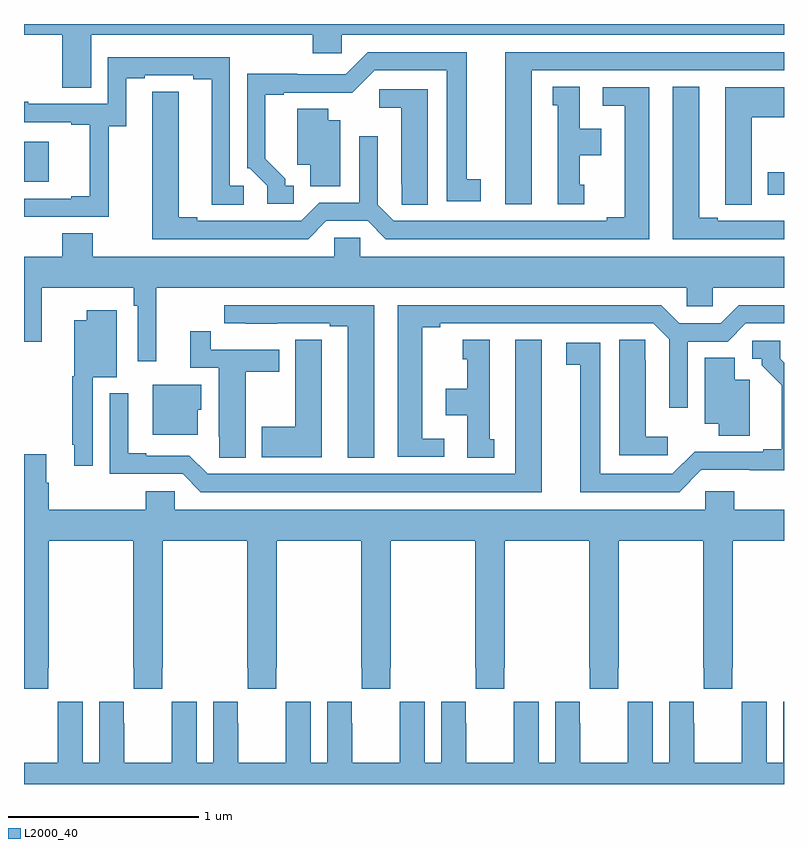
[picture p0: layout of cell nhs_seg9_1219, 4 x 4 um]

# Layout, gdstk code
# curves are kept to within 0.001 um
import gdstk
lib = gdstk.Library(unit=1e-6, precision=1e-09)
def R(c, l, rs):  # rectangles x0, y0, x1, y1
    for r in rs: c.add(gdstk.rectangle(r[:2], r[2:], *l))
def P(c, l, *ps):  # polygons
    for p in ps: c.add(gdstk.Polygon(p, *l))
L2000_40 = (2000, 40)

nhs_seg9_1219 = lib.new_cell('nhs_seg9_1219')
R(nhs_seg9_1219, L2000_40, [(182.915,1171.602,183,1171.719), (179,1171.67,179.131,1171.879)])
P(nhs_seg9_1219, L2000_40, [(179.353,1172.444),(180.521,1172.444),(180.521,1172.346),(180.672,1172.346),(180.672,1172.444),(183,1172.444),(183,1172.5),(179,1172.5),(179,1172.444),(179.201,1172.444),(179.201,1172.164),(179.353,1172.164)],
  [(181.672,1172.256),(183,1172.256),(183,1172.352),(181.532,1172.352),(181.532,1171.551),(181.672,1171.551)],
  [(180.421,1171.65),(180.376,1171.65),(180.376,1171.685),(180.271,1171.79),(180.271,1172.127),(180.367,1172.127),(180.367,1172.139),(180.728,1172.138),(180.846,1172.256),(181.226,1172.256),(181.226,1171.566),(181.405,1171.566),(181.405,1171.682),(181.33,1171.682),(181.33,1172.352),(180.81,1172.352),(180.693,1172.235),(180.437,1172.235),(180.437,1172.237),(180.174,1172.237),(180.174,1171.74),(180.189,1171.74),(180.279,1171.65),(180.279,1171.554),(180.421,1171.554)],
  [(179.445,1171.963),(179.539,1171.963),(179.539,1172.214),(179.635,1172.214),(179.635,1172.229),(179.891,1172.229),(179.891,1172.209),(179.987,1172.209),(179.987,1171.549),(180.157,1171.549),(180.157,1171.65),(180.084,1171.65),(180.084,1172.325),(179.442,1172.325),(179.442,1172.079),(179.023,1172.079),(179.023,1172.092),(179,1172.092),(179,1171.983),(179.249,1171.983),(179.249,1171.971),(179.345,1171.971),(179.345,1171.594),(179.249,1171.594),(179.249,1171.581),(179,1171.581),(179,1171.485),(179.445,1171.485)],
  [(183,1171.465),(182.926,1171.465),(182.926,1171.464),(182.65,1171.464),(182.65,1171.479),(182.554,1171.479),(182.554,1172.171),(182.414,1172.171),(182.414,1171.368),(183,1171.368)],
  [(181.948,1171.653),(181.924,1171.653),(181.924,1171.808),(182.038,1171.808),(182.038,1171.948),(181.924,1171.948),(181.924,1172.171),(181.784,1172.171),(181.784,1172.073),(181.808,1172.073),(181.808,1171.551),(181.948,1171.551)],
  [(182.83,1172.008),(183,1172.008),(183,1172.167),(182.69,1172.167),(182.69,1171.657),(182.691,1171.657),(182.691,1171.549),(182.83,1171.549)],
  [(180.591,1171.464),(180.809,1171.464),(180.905,1171.368),(182.29,1171.368),(182.29,1172.166),(182.046,1172.166),(182.046,1172.07),(182.162,1172.07),(182.162,1171.484),(182.066,1171.484),(182.066,1171.464),(180.945,1171.464),(180.861,1171.548),(180.861,1171.909),(180.765,1171.909),(180.765,1171.56),(180.555,1171.56),(180.459,1171.464),(179.911,1171.464),(179.911,1171.484),(179.815,1171.484),(179.815,1172.144),(179.676,1172.144),(179.675,1171.368),(180.495,1171.368)],
  [(181.126,1172.157),(180.87,1172.157),(180.87,1172.06),(180.986,1172.06),(180.986,1171.657),(180.987,1171.657),(180.987,1171.549),(181.126,1171.549)],
  [(180.664,1171.993),(180.601,1171.993),(180.601,1172.054),(180.437,1172.054),(180.437,1171.76),(180.506,1171.76),(180.506,1171.645),(180.664,1171.645)],
  [(179.696,1171.112),(182.487,1171.112),(182.487,1171.014),(182.625,1171.014),(182.625,1171.112),(183,1171.112),(183,1171.276),(180.771,1171.276),(180.771,1171.374),(180.633,1171.374),(180.633,1171.276),(179.361,1171.276),(179.361,1171.4),(179.201,1171.4),(179.201,1171.276),(179,1171.276),(179,1170.828),(179.094,1170.828),(179.094,1171.112),(179.578,1171.112),(179.578,1171.016),(179.598,1171.016),(179.598,1170.726),(179.696,1170.726)],
  [(180.844,1171.02),(180.054,1171.02),(180.054,1170.924),(180.166,1170.924),(180.166,1170.923),(180.332,1170.923),(180.332,1170.924),(180.608,1170.924),(180.608,1170.909),(180.704,1170.909),(180.704,1170.217),(180.844,1170.217)],
  [(181.213,1170.318),(181.096,1170.318),(181.096,1170.904),(181.192,1170.904),(181.192,1170.924),(182.313,1170.924),(182.397,1170.84),(182.397,1170.48),(182.493,1170.48),(182.493,1170.828),(182.703,1170.828),(182.799,1170.924),(183,1170.924),(183,1171.02),(182.763,1171.02),(182.667,1170.924),(182.449,1170.924),(182.353,1171.02),(180.968,1171.02),(180.968,1170.222),(181.213,1170.222)],
  [(179.361,1170.641),(179.488,1170.641),(179.488,1170.994),(179.33,1170.994),(179.33,1170.94),(179.264,1170.94),(179.264,1170.645),(179.253,1170.645),(179.253,1170.286),(179.264,1170.286),(179.264,1170.174),(179.361,1170.174)],
  [(180.166,1170.67),(180.343,1170.67),(180.343,1170.786),(179.984,1170.786),(179.984,1170.883),(179.876,1170.883),(179.876,1170.69),(180.026,1170.69),(180.026,1170.328),(180.027,1170.328),(180.027,1170.217),(180.166,1170.217)],
  [(180.568,1170.731),(180.567,1170.731),(180.567,1170.839),(180.428,1170.839),(180.428,1170.381),(180.251,1170.381),(180.251,1170.221),(180.568,1170.221)],
  [(182.389,1170.328),(182.272,1170.328),(182.272,1170.731),(182.271,1170.731),(182.271,1170.839),(182.132,1170.839),(182.132,1170.231),(182.389,1170.231)],
  [(181.726,1170.838),(181.586,1170.838),(181.586,1170.132),(179.967,1170.132),(179.871,1170.228),(179.644,1170.228),(179.644,1170.241),(179.548,1170.241),(179.548,1170.556),(179.451,1170.556),(179.451,1170.132),(179.835,1170.132),(179.931,1170.036),(181.726,1170.036)],
  [(181.474,1170.315),(181.45,1170.315),(181.45,1170.838),(181.31,1170.838),(181.31,1170.735),(181.334,1170.735),(181.334,1170.58),(181.22,1170.58),(181.22,1170.44),(181.334,1170.44),(181.334,1170.217),(181.474,1170.217)],
  [(182.565,1170.153),(183,1170.152),(183,1170.717),(182.979,1170.738),(182.979,1170.834),(182.832,1170.834),(182.832,1170.738),(182.882,1170.738),(182.882,1170.703),(182.987,1170.598),(182.987,1170.262),(182.891,1170.262),(182.891,1170.249),(182.53,1170.25),(182.412,1170.132),(182.032,1170.132),(182.032,1170.822),(181.854,1170.822),(181.854,1170.706),(181.928,1170.706),(181.928,1170.036),(182.448,1170.036)],
  [(182.821,1170.628),(182.74,1170.628),(182.74,1170.743),(182.582,1170.743),(182.582,1170.395),(182.657,1170.395),(182.657,1170.334),(182.821,1170.334)],
  [(179.914,1170.471),(179.932,1170.471),(179.932,1170.601),(179.678,1170.601),(179.678,1170.338),(179.914,1170.338)],
  [(179.127,1169.113),(179.13,1169.113),(179.13,1169.78),(179.575,1169.78),(179.575,1169.113),(179.577,1169.113),(179.577,1169.001),(179.727,1169.001),(179.727,1169.113),(179.73,1169.113),(179.73,1169.78),(180.175,1169.78),(180.175,1169.113),(180.177,1169.113),(180.177,1169.001),(180.327,1169.001),(180.327,1169.113),(180.33,1169.113),(180.33,1169.78),(180.775,1169.78),(180.775,1169.113),(180.777,1169.113),(180.777,1169.001),(180.927,1169.001),(180.927,1169.113),(180.93,1169.113),(180.93,1169.78),(181.375,1169.78),(181.375,1169.113),(181.377,1169.113),(181.377,1169.001),(181.527,1169.001),(181.527,1169.113),(181.53,1169.113),(181.53,1169.78),(181.975,1169.78),(181.975,1169.113),(181.977,1169.113),(181.977,1169.001),(182.127,1169.001),(182.127,1169.113),(182.13,1169.113),(182.13,1169.78),(182.575,1169.78),(182.575,1169.113),(182.577,1169.113),(182.577,1169.001),(182.727,1169.001),(182.727,1169.113),(182.73,1169.113),(182.73,1169.78),(183,1169.78),(183,1169.944),(182.738,1169.944),(182.738,1170.042),(182.586,1170.042),(182.586,1169.944),(179.793,1169.944),(179.793,1170.042),(179.642,1170.042),(179.642,1169.944),(179.129,1169.944),(179.129,1170.086),(179.116,1170.086),(179.116,1170.235),(179,1170.235),(179,1169.001),(179.127,1169.001)],
  [(179.778,1168.933),(179.778,1168.82),(179.777,1168.82),(179.777,1168.612),(179.527,1168.612),(179.527,1168.82),(179.526,1168.82),(179.526,1168.933),(179.396,1168.933),(179.396,1168.612),(179.308,1168.612),(179.308,1168.933),(179.178,1168.933),(179.178,1168.82),(179.177,1168.82),(179.177,1168.612),(179,1168.612),(179,1168.5),(183,1168.5),(183,1168.933),(182.996,1168.933),(182.996,1168.612),(182.908,1168.612),(182.908,1168.933),(182.778,1168.933),(182.778,1168.82),(182.777,1168.82),(182.777,1168.612),(182.527,1168.612),(182.527,1168.82),(182.526,1168.82),(182.526,1168.933),(182.396,1168.933),(182.396,1168.612),(182.308,1168.612),(182.308,1168.933),(182.178,1168.933),(182.178,1168.82),(182.177,1168.82),(182.177,1168.612),(181.927,1168.612),(181.927,1168.82),(181.926,1168.82),(181.926,1168.933),(181.796,1168.933),(181.796,1168.612),(181.708,1168.612),(181.708,1168.933),(181.578,1168.933),(181.578,1168.82),(181.577,1168.82),(181.577,1168.612),(181.327,1168.612),(181.327,1168.82),(181.326,1168.82),(181.326,1168.933),(181.196,1168.933),(181.196,1168.612),(181.108,1168.612),(181.108,1168.933),(180.978,1168.933),(180.978,1168.82),(180.977,1168.82),(180.977,1168.612),(180.727,1168.612),(180.727,1168.82),(180.726,1168.82),(180.726,1168.933),(180.596,1168.933),(180.596,1168.612),(180.508,1168.612),(180.508,1168.933),(180.378,1168.933),(180.378,1168.82),(180.377,1168.82),(180.377,1168.612),(180.127,1168.612),(180.127,1168.82),(180.126,1168.82),(180.126,1168.933),(179.996,1168.933),(179.996,1168.612),(179.908,1168.612),(179.908,1168.933)])

lib.write_gds('nhs_seg9_1219.gds')
